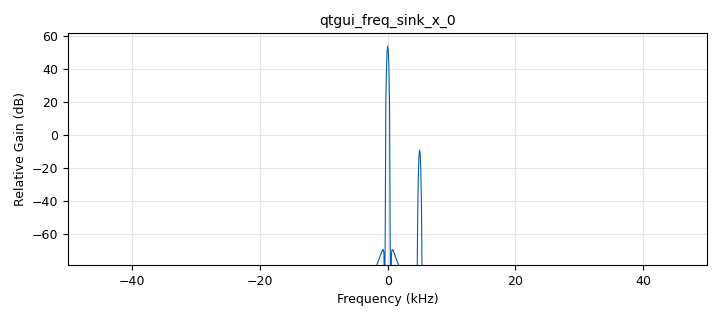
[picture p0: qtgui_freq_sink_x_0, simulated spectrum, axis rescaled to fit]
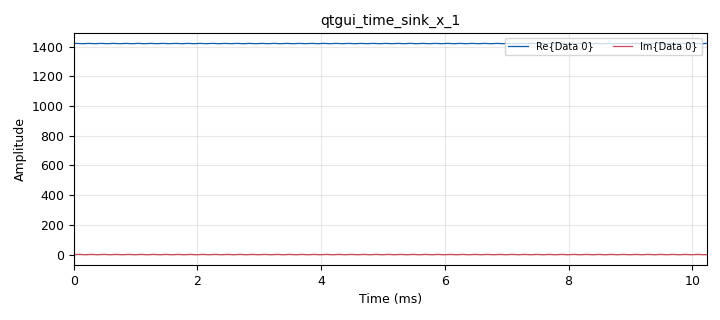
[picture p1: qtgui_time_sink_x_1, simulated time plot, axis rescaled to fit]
options:
  parameters:
    author: gnnkt
    generate_options: qt_gui
    id: part2_sine
    output_language: python
    title: Not titled yet
  states: {}

blocks:
- name: samp_rate
  id: variable
  parameters:
    value: '100000'
  states: {}
- name: samp_rate_0
  id: variable
  parameters:
    value: '100000'
  states: {}
- name: analog_sig_source_x_0
  id: analog_sig_source_x
  parameters:
    amp: '1'
    freq: '5000'
    offset: '1420'
    phase: '0'
    samp_rate: samp_rate
    type: complex
    waveform: analog.GR_COS_WAVE
  states: {}
- name: blocks_throttle2_0
  id: blocks_throttle2
  parameters:
    samples_per_second: samp_rate
    type: complex
  states: {}
- name: qtgui_freq_sink_x_0
  id: qtgui_freq_sink_x
  parameters:
    bw: samp_rate
    fc: '0'
    fftsize: '1024'
    type: complex
  states: {}
- name: qtgui_time_sink_x_1
  id: qtgui_time_sink_x
  parameters:
    size: '1024'
    srate: samp_rate
    type: complex
  states: {}

connections:
- [analog_sig_source_x_0, '0', blocks_throttle2_0, '0']
- [blocks_throttle2_0, '0', qtgui_freq_sink_x_0, '0']
- [blocks_throttle2_0, '0', qtgui_time_sink_x_1, '0']

metadata:
  file_format: 1
  grc_version: 3.10.12.0
